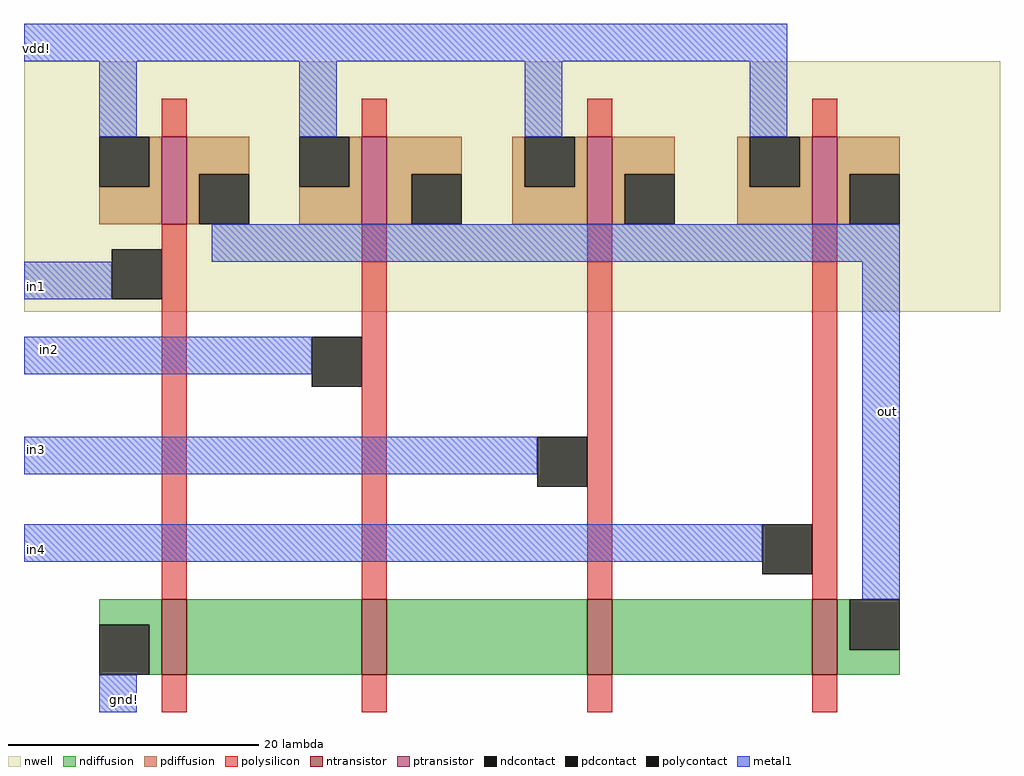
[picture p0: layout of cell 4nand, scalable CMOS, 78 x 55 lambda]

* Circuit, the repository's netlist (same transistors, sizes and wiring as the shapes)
* SPICE3 file created from 4nand.ext - technology: scmos
.include TSMC_180nm.txt
.option scale=0.09u


M1006 out in4 vdd w_2_n52# CMOSP w=7 l=2
+  ad=147 pd=98 as=0 ps=0
M1007 out in1 vdd w_2_n52# CMOSP w=7 l=2
+  ad=0 pd=0 as=0 ps=0
M1008 out in3 vdd w_2_n52# CMOSP w=7 l=2
+  ad=0 pd=0 as=0 ps=0
M1009 out in2 vdd w_2_n52# CMOSP w=7 l=2
+  ad=0 pd=0 as=0 ps=0
M1010 out in4 a_49_n81# Gnd CMOSN w=6 l=2
+  ad=30 pd=22 as=96 ps=44
M1011 a_15_n81# in1 gnd Gnd CMOSN w=6 l=2
+  ad=84 pd=40 as=0 ps=0
M1012 a_49_n81# in3 a_31_n81# Gnd CMOSN w=6 l=2
+  ad=0 pd=0 as=96 ps=44
M1013 a_31_n81# in2 a_15_n81# Gnd CMOSN w=6 l=2
+  ad=0 pd=0 as=0 ps=0


Vdd vdd gnd 2

V_in_a in1 gnd DC 2
V_in_b in2 gnd DC 2
V_in_c in3 gnd DC 2
V_in_d in4 gnd DC 0
.tran 1u 10000u




.control
run
set color0 = rgb:f/f/e
set color1 = black
plot v(out) v(in1)+3 v(in2)+5 v(in3)+7
.endc
.end

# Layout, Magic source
magic
tech scmos
<< nwell >>
rect 2 -52 80 -32
<< ntransistor >>
rect 13 -81 15 -75
rect 29 -81 31 -75
rect 47 -81 49 -75
rect 65 -81 67 -75
<< ptransistor >>
rect 13 -45 15 -38
rect 29 -45 31 -38
rect 47 -45 49 -38
rect 65 -45 67 -38
<< ndiffusion >>
rect 8 -77 13 -75
rect 12 -81 13 -77
rect 15 -81 29 -75
rect 31 -81 47 -75
rect 49 -81 65 -75
rect 67 -79 68 -75
rect 67 -81 72 -79
<< pdiffusion >>
rect 12 -42 13 -38
rect 8 -45 13 -42
rect 15 -41 20 -38
rect 15 -45 16 -41
rect 28 -42 29 -38
rect 24 -45 29 -42
rect 31 -41 37 -38
rect 31 -45 33 -41
rect 41 -42 42 -38
rect 46 -42 47 -38
rect 41 -45 47 -42
rect 49 -41 54 -38
rect 49 -45 50 -41
rect 59 -42 60 -38
rect 64 -42 65 -38
rect 59 -45 65 -42
rect 67 -41 72 -38
rect 67 -45 68 -41
<< ndcontact >>
rect 8 -81 12 -77
rect 68 -79 72 -75
<< pdcontact >>
rect 8 -42 12 -38
rect 16 -45 20 -41
rect 24 -42 28 -38
rect 33 -45 37 -41
rect 42 -42 46 -38
rect 50 -45 54 -41
rect 60 -42 64 -38
rect 68 -45 72 -41
<< polysilicon >>
rect 13 -38 15 -35
rect 29 -38 31 -35
rect 47 -38 49 -35
rect 65 -38 67 -35
rect 13 -75 15 -45
rect 29 -75 31 -45
rect 47 -75 49 -45
rect 65 -75 67 -45
rect 13 -84 15 -81
rect 29 -84 31 -81
rect 47 -84 49 -81
rect 65 -84 67 -81
<< polycontact >>
rect 9 -51 13 -47
rect 25 -58 29 -54
rect 43 -66 47 -62
rect 61 -73 65 -69
<< metal1 >>
rect 2 -32 63 -29
rect 8 -38 11 -32
rect 24 -38 27 -32
rect 42 -38 45 -32
rect 60 -38 63 -32
rect 2 -51 9 -48
rect 17 -48 72 -45
rect 2 -57 25 -54
rect 2 -65 43 -62
rect 2 -72 61 -69
rect 69 -75 72 -48
rect 8 -84 11 -81
<< labels >>
rlabel metal1 3 -31 3 -31 4 vdd!
rlabel metal1 3 -50 3 -50 3 in1
rlabel metal1 10 -83 10 -83 1 gnd!
rlabel metal1 71 -60 71 -60 1 out
rlabel metal1 4 -55 4 -55 3 in2
rlabel metal1 3 -63 3 -63 3 in3
rlabel metal1 3 -71 3 -71 3 in4
<< end >>
